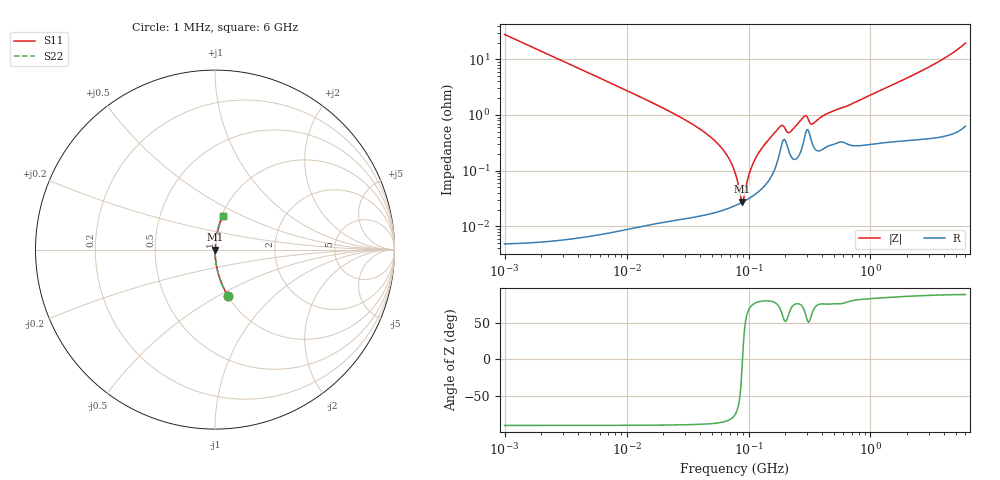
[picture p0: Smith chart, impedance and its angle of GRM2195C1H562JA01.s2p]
!Murata Part Number: GRM2195C1H562JA01
!These Parameters are Measured in Series Mode Connection
!Data Generated on Mar 30, 2021
!  o--ll--o
!Port1  Port2
!  o------o
!Operation Temp=25[degC], DC Bias Voltage=0[V]
!Freq. Start=1000[kHz] Stop=6[GHz] 401[Steps]
# Hz S RI R 50
!Freq.(Hz) S11(Real) S11(Imag) S21(Real) S21(Imag) S12(Real) S12(Imag) S22(Real) S22(Imag)
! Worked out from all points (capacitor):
!   401 points, 1 MHz to 6 GHz, reference 50 ohm
!   read as one part in series: C = 5.7 nF near 1.044 MHz
!   lowest |Z| = 27.8 mohm at 88.26 MHz (marker M1)
!   series resonance near 89.25 MHz, so ESL is about 560 pH
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1000000  0.0723 -0.2589  0.9277 0.2589  0.9277 0.2589  0.0723 -0.2589
4293785  0.00425 -0.0646  0.9958 0.0646  0.9958 0.0646  0.00425 -0.0646
1.843659e7  0.000323 -0.0145  0.9997 0.0145  0.9997 0.0145  0.000323 -0.0145
3.389622e7  0.000192 -0.00704  0.9998 0.00704  0.9998 0.00704  0.000192 -0.00704
5.013812e7  0.000185 -0.00382  0.9998 0.00382  0.9998 0.00382  0.000185 -0.00382
6.508975e7  0.000206 -0.00202  0.9998 0.00202  0.9998 0.00202  0.000206 -0.00202
7.745967e7  0.000235 -0.000901  0.9998 0.000901  0.9998 0.000901  0.000235 -0.000901
8.635799e7  0.000262 -0.00021  0.9997 0.00021  0.9997 0.00021  0.000262 -0.00021
8.825674e7  0.000268 -7.14e-05  0.9997 7.14e-05  0.9997 7.14e-05  0.000268 -7.14e-05
9.218041e7  0.000282 0.000207  0.9997 -0.000207  0.9997 -0.000207  0.000282 0.000207
1.027698e8  0.000325 0.000912  0.9997 -0.000912  0.9997 -0.000912  0.000325 0.000912
1.145757e8  0.000385 0.00165  0.9996 -0.00165  0.9996 -0.00165  0.000385 0.00165
1.334167e8  0.000521 0.00277  0.9995 -0.00277  0.9995 -0.00277  0.000521 0.00277
1.770109e8  0.00182 0.00556  0.9982 -0.00556  0.9982 -0.00556  0.00182 0.00556
1.889453e8  0.00319 0.00567  0.9968 -0.00567  0.9968 -0.00567  0.00319 0.00567
2.200158e8  0.00193 0.00457  0.9981 -0.00457  0.9981 -0.00457  0.00193 0.00457
2.919064e8  0.0045 0.00854  0.9955 -0.00854  0.9955 -0.00854  0.0045 0.00854
3.325952e8  0.00313 0.00607  0.9969 -0.00607  0.9969 -0.00607  0.00313 0.00607
4.31778e8  0.00273 0.00997  0.9973 -0.00997  0.9973 -0.00997  0.00273 0.00997
1.428092e9  0.00428 0.0323  0.9957 -0.0323  0.9957 -0.0323  0.00428 0.0323
3.408564e9  0.0108 0.0829  0.9892 -0.0829  0.9892 -0.0829  0.0108 0.0829
6e9  0.0423 0.1858  0.9577 -0.1858  0.9577 -0.1858  0.0423 0.1858
